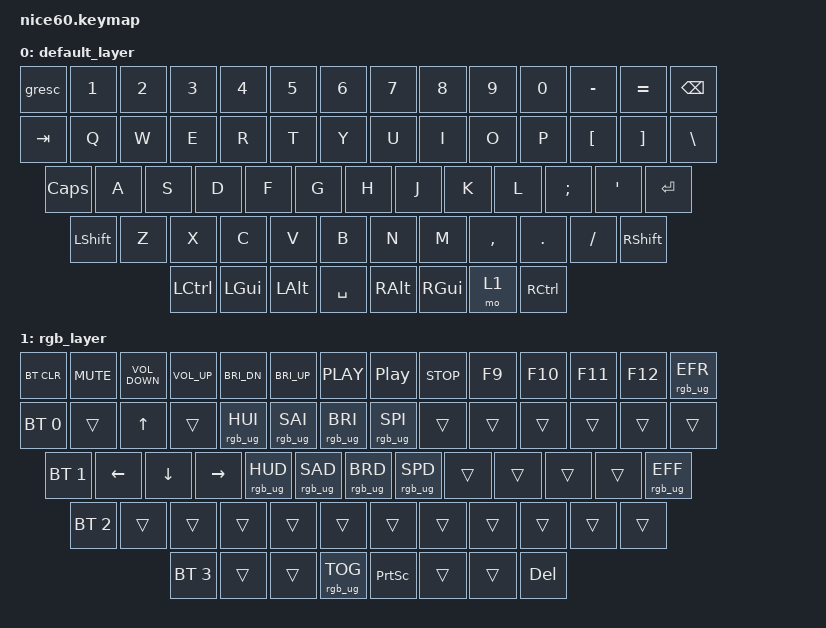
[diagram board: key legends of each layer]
/*
 * Copyright (c) 2021 Nick Winans
 *
 * SPDX-License-Identifier: MIT
 */

#include <behaviors.dtsi>
#include <dt-bindings/zmk/keys.h>
#include <dt-bindings/zmk/rgb.h>
#include <dt-bindings/zmk/bt.h>
#include <dt-bindings/zmk/outputs.h>
#include <dt-bindings/zmk/reset.h>
#include <dt-bindings/zmk/ext_power.h>

/ {
	keymap {
		compatible = "zmk,keymap";
		
		default_layer {
// ------------------------------------------------------------------------------------------
// | ESC |  1  |  2  |  3  |  4  |  5  |  6  |  7  |  8  |  9  |  0  |  -  |  =  |   BKSP   |
// | TAB  |  Q  |  W  |  E  |  R  |  T  |  Y  |  U  |  I  |  O  |  P  |  [  |  ]  |   "|"   |
// | CAPS  |  A  |  S  |  D  |  F  |  G  |  H  |  J  |  K  |  L  |  ;  |  '  |     ENTER    |
// |  SHIFT  |  Z  |  X  |  C  |  V  |  B  |  N  |  M  |  ,  |  .  |  /  |      SHIFT       |
// |  CTL  |  WIN  |  ALT  |            SPACE              |  ALT  |  WIN  |  MO(1) |  CTL  |
// ------------------------------------------------------------------------------------------
			bindings = <
	&gresc  &kp N1 &kp N2 &kp N3 &kp N4 &kp N5 &kp N6 &kp N7 &kp N8 &kp N9 &kp N0 &kp MINUS &kp EQUAL  &kp BSPC
	&kp TAB  &kp Q  &kp W  &kp E  &kp R  &kp T  &kp Y  &kp U  &kp I  &kp O  &kp P  &kp LBKT  &kp RBKT  &kp BSLH
	&kp CLCK  &kp A  &kp S  &kp D  &kp F  &kp G  &kp H  &kp J  &kp K  &kp L  &kp SEMI &kp SQT           &kp RET
	&kp LSHFT   &kp Z  &kp X  &kp C  &kp V  &kp B  &kp N  &kp M  &kp COMMA &kp DOT &kp FSLH           &kp RSHFT
	&kp LCTRL &kp LGUI &kp LALT             &kp SPACE                     &kp RALT  &kp RGUI  &mo 1   &kp RCTRL
			>;
		};

		rgb_layer {
// -----------------------------------------------------------------------------------------
// | BT CLR | MUTE | VOL- | VOL+ | BR- | BR+ | PLAY | PAUSE | STOP |   |   |   |   | E_REV |
// |  BT 1  |      |  UP  |     | HUEUP | SATUP | BRIUP | SPDUP |  |   |   |  |     |      |
// |  BT 2  | LT |  DN  | RT | HUEDN | SATDN | BRIDN | SPDDN |  |   |   |   |  EFFECT FORW |
// |    BT 3     |       |       |      |      |     |      |      |    |     |     |      |
// |   BT 4  |      |      |            TOG RGB          | PRT SCR |       |       |  DEL  |
// -----------------------------------------------------------------------------------------
			bindings = <
	&bt BT_CLR   &kp C_MUTE    &kp C_VOLUME_DOWN   &kp C_VOLUME_UP  &kp C_BRI_DN  &kp C_BRI_UP  &kp C_PLAY &kp C_PLAY_PAUSE &kp C_STOP &kp F9  &kp F10  &kp F11  &kp F12 &rgb_ug RGB_EFR
	&bt BT_SEL 0  &trans    &kp UP    &trans  &rgb_ug RGB_HUI  &rgb_ug RGB_SAI &rgb_ug RGB_BRI &rgb_ug RGB_SPI  &trans   &trans   &trans   &trans  &trans          &trans 
	&bt BT_SEL 1   &kp LEFT  &kp DOWN  &kp RIGHT &rgb_ug RGB_HUD &rgb_ug RGB_SAD &rgb_ug RGB_BRD &rgb_ug RGB_SPD &trans   &trans   &trans   &trans        &rgb_ug RGB_EFF
	&bt BT_SEL 2    &trans    &trans    &trans   &trans          &trans          &trans          &trans          &trans   &trans   &trans                          &trans
	&bt BT_SEL 3  &trans   &trans                            &rgb_ug RGB_TOG                                      &kp PSCRN      &trans      &trans               &kp DEL
			>;
		};
	};
};
